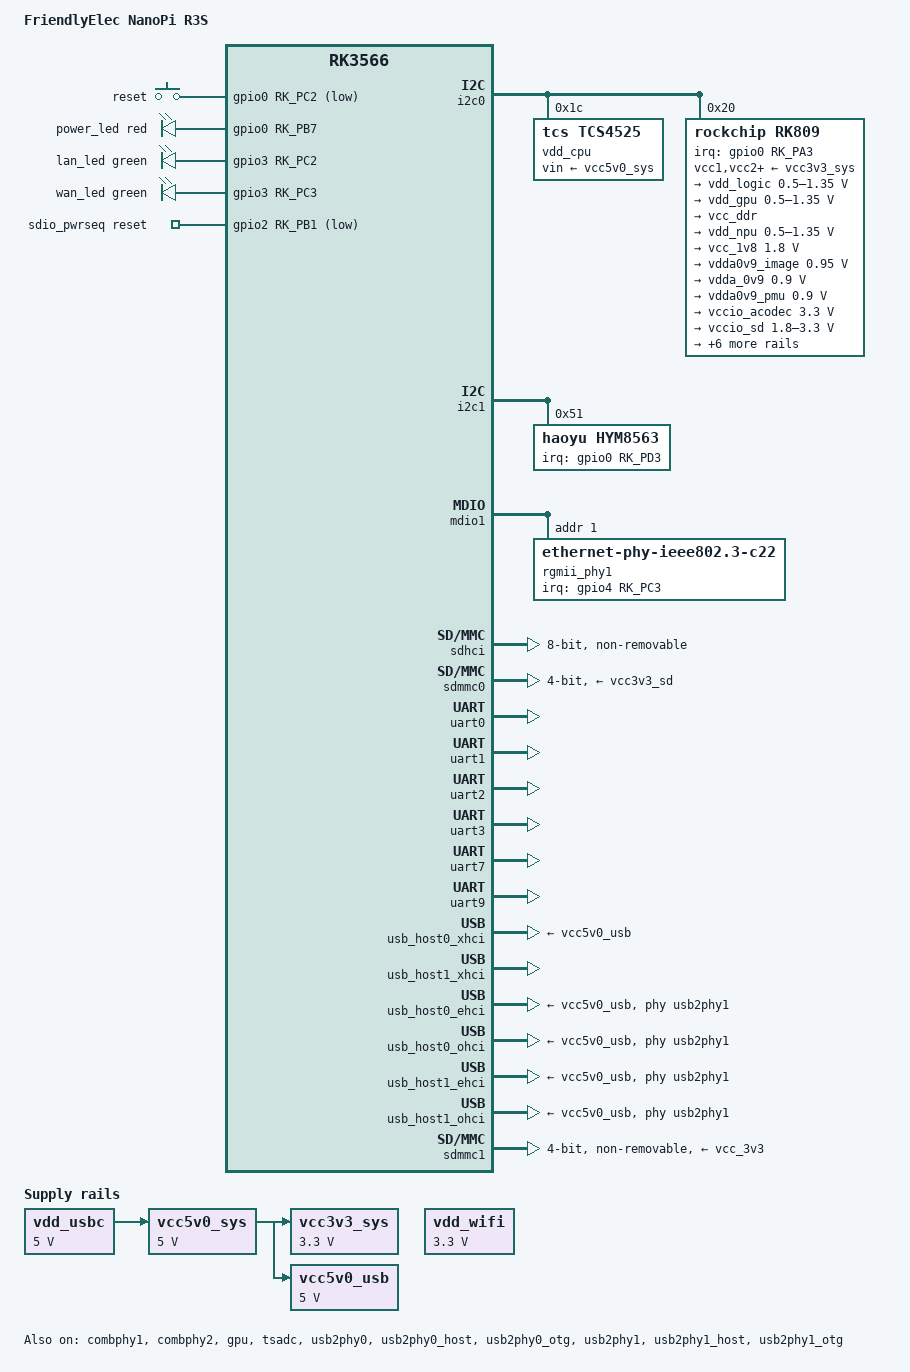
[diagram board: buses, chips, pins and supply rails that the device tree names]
// SPDX-License-Identifier: GPL-2.0-or-later OR MIT
/*
 * Copyright (c) 2020 Rockchip Electronics Co., Ltd.
 *
 * Copyright (c) 2024 FriendlyElec Computer Tech. Co., Ltd.
 * (http://www.friendlyelec.com)
 *
 * Copyright (c) 2024 Tianling Shen <cnsztl@gmail.com>
 *
 * version: rk3566-nanopi-r3s-custom-v2.dts
 */

/dts-v1/;
#include <dt-bindings/gpio/gpio.h>
#include <dt-bindings/input/input.h>
#include <dt-bindings/leds/common.h>
#include <dt-bindings/pinctrl/rockchip.h>
#include <dt-bindings/soc/rockchip,vop2.h>
#include "rk3566.dtsi"

/ {
	model = "FriendlyElec NanoPi R3S";
	compatible = "friendlyarm,nanopi-r3s", "rockchip,rk3566";

	aliases {
		ethernet0 = &gmac1;
		mmc0 = &sdhci;
		mmc1 = &sdmmc0;
		mmc2 = &sdmmc1;
	};

	chosen: chosen {
		stdout-path = "serial2:1500000n8";
	};

	gpio-keys {
		compatible = "gpio-keys";
		pinctrl-names = "default";
		pinctrl-0 = <&reset_button_pin>;

		button-reset {
			label = "reset";
			gpios = <&gpio0 RK_PC2 GPIO_ACTIVE_LOW>;
			linux,code = <KEY_RESTART>;
			debounce-interval = <50>;
		};
	};

	gpio-leds {
		compatible = "gpio-leds";
		pinctrl-names = "default";
		pinctrl-0 = <&power_led_pin>, <&lan_led_pin>, <&wan_led_pin>;

		power_led: led-0 {
			color = <LED_COLOR_ID_RED>;
			function = LED_FUNCTION_POWER;
			gpios = <&gpio0 RK_PB7 GPIO_ACTIVE_HIGH>;
			linux,default-trigger = "heartbeat";
		};

		lan_led: led-1 {
			color = <LED_COLOR_ID_GREEN>;
			function = LED_FUNCTION_LAN;
			gpios = <&gpio3 RK_PC2 GPIO_ACTIVE_HIGH>;
			linux,default-trigger = "r8169-0-100:00:link";
		};

		wan_led: led-2 {
			color = <LED_COLOR_ID_GREEN>;
			function = LED_FUNCTION_WAN;
			gpios = <&gpio3 RK_PC3 GPIO_ACTIVE_HIGH>;
			linux,default-trigger = "stmmac-0:01:link";
		};
	};

	vcc3v3_sys: regulator-vcc3v3-sys {
		compatible = "regulator-fixed";
		regulator-name = "vcc3v3_sys";
		regulator-always-on;
		regulator-boot-on;
		regulator-min-microvolt = <3300000>;
		regulator-max-microvolt = <3300000>;
		vin-supply = <&vcc5v0_sys>;
	};

	vcc5v0_sys: regulator-vcc5v0-sys {
		compatible = "regulator-fixed";
		regulator-name = "vcc5v0_sys";
		regulator-always-on;
		regulator-boot-on;
		regulator-min-microvolt = <5000000>;
		regulator-max-microvolt = <5000000>;
		vin-supply = <&vdd_usbc>;
	};

	vcc5v0_usb: regulator-vcc5v0_usb {
		compatible = "regulator-fixed";
		regulator-name = "vcc5v0_usb";
		regulator-always-on;
		regulator-boot-on;
		regulator-min-microvolt = <5000000>;
		regulator-max-microvolt = <5000000>;
		vin-supply = <&vcc5v0_sys>;
	};

	vdd_usbc: regulator-vdd-usbc {
		compatible = "regulator-fixed";
		regulator-name = "vdd_usbc";
		regulator-always-on;
		regulator-boot-on;
		regulator-min-microvolt = <5000000>;
		regulator-max-microvolt = <5000000>;
	};

	vdd_wifi: wifi_regulator {
		compatible = "regulator-fixed";
		regulator-name = "vdd_wifi_3v3";
		gpio-enable = <&gpio2 RK_PB1 GPIO_ACTIVE_HIGH>;
		/* 电压和VCCIO_WL一致 3.3V */
		regulator-min-microvolt = <3300000>;
		regulator-max-microvolt = <3300000>;
		/* 上电延时，满足RTL8723上电时序 */
		startup-delay-us = <100000>;
	};
	
	/* -------------------------- RTL8723 WiFi电源时序 -------------------------- */
	sdio_pwrseq: sdio-pwrseq {
		compatible = "mmc-pwrseq-simple";
		clocks = <&rk809 1>;
		clock-names = "ext_clock";
		pinctrl-names = "default";
		pinctrl-0 = <&wifi_enable_h>;
		post-power-on-delay-ms = <300>;
		power-off-delay-us = <3000000>;
		reset-gpios = <&gpio2 RK_PB1 GPIO_ACTIVE_LOW>;
	};
};

&combphy1 {
	status = "okay";
};

&combphy2 {
	status = "okay";
};

&cpu0 {
	cpu-supply = <&vdd_cpu>;
};

&cpu1 {
	cpu-supply = <&vdd_cpu>;
};

&cpu2 {
	cpu-supply = <&vdd_cpu>;
};

&cpu3 {
	cpu-supply = <&vdd_cpu>;
};

&gmac1 {
	phy-mode = "rgmii";
	clock_in_out = "output";

	snps,reset-gpio = <&gpio4 RK_PC2 GPIO_ACTIVE_LOW>;
	snps,reset-active-low;
	/* Reset time is 15ms, 50ms for rtl8211f */
	snps,reset-delays-us = <0 15000 50000>;
	assigned-clocks = <&cru SCLK_GMAC1_RX_TX>, <&cru SCLK_GMAC1>;
	assigned-clock-parents = <&cru SCLK_GMAC1_RGMII_SPEED>, <&cru CLK_MAC1_2TOP>;
	assigned-clock-rates = <0>, <125000000>;

	pinctrl-names = "default";
	pinctrl-0 = <&gmac1m0_miim
		     &gmac1m0_tx_bus2_level3
		     &gmac1m0_rx_bus2
		     &gmac1m0_rgmii_clk_level2
		     &gmac1m0_rgmii_bus_level3>;
	tx_delay = <0x3c>;
	rx_delay = <0x2f>;

	phy-handle = <&rgmii_phy1>;
	status = "disabled";
};

&gpu {
	mali-supply = <&vdd_gpu>;
	status = "okay";
};

&i2c0 {
	status = "okay";

	vdd_cpu: regulator@1c {
		compatible = "tcs,tcs4525";
		reg = <0x1c>;
		fcs,suspend-voltage-selector = <1>;
		regulator-name = "vdd_cpu";
		regulator-always-on;
		regulator-boot-on;
		regulator-min-microvolt = <800000>;
		regulator-max-microvolt = <1150000>;
		regulator-ramp-delay = <2300>;
		vin-supply = <&vcc5v0_sys>;

		regulator-state-mem {
			regulator-off-in-suspend;
		};
	};

	rk809: pmic@20 {
		compatible = "rockchip,rk809";
		reg = <0x20>;
		interrupt-parent = <&gpio0>;
		interrupts = <RK_PA3 IRQ_TYPE_LEVEL_LOW>;
		#clock-cells = <1>;
		pinctrl-names = "default";
		pinctrl-0 = <&pmic_int>;
		system-power-controller;
		vcc1-supply = <&vcc3v3_sys>;
		vcc2-supply = <&vcc3v3_sys>;
		vcc3-supply = <&vcc3v3_sys>;
		vcc4-supply = <&vcc3v3_sys>;
		vcc5-supply = <&vcc3v3_sys>;
		vcc6-supply = <&vcc3v3_sys>;
		vcc7-supply = <&vcc3v3_sys>;
		vcc8-supply = <&vcc3v3_sys>;
		vcc9-supply = <&vcc3v3_sys>;
		wakeup-source;

		regulators {
			vdd_logic: DCDC_REG1 {
				regulator-name = "vdd_logic";
				regulator-always-on;
				regulator-boot-on;
				regulator-initial-mode = <0x2>;
				regulator-min-microvolt = <500000>;
				regulator-max-microvolt = <1350000>;
				regulator-ramp-delay = <6001>;

				regulator-state-mem {
					regulator-off-in-suspend;
				};
			};

			vdd_gpu: DCDC_REG2 {
				regulator-name = "vdd_gpu";
				regulator-always-on;
				regulator-initial-mode = <0x2>;
				regulator-min-microvolt = <500000>;
				regulator-max-microvolt = <1350000>;
				regulator-ramp-delay = <6001>;

				regulator-state-mem {
					regulator-off-in-suspend;
				};
			};

			vcc_ddr: DCDC_REG3 {
				regulator-name = "vcc_ddr";
				regulator-always-on;
				regulator-boot-on;
				regulator-initial-mode = <0x2>;

				regulator-state-mem {
					regulator-on-in-suspend;
				};
			};

			vdd_npu: DCDC_REG4 {
				regulator-name = "vdd_npu";
				regulator-initial-mode = <0x2>;
				regulator-min-microvolt = <500000>;
				regulator-max-microvolt = <1350000>;
				regulator-ramp-delay = <6001>;

				regulator-state-mem {
					regulator-off-in-suspend;
				};
			};

			vcc_1v8: DCDC_REG5 {
				regulator-name = "vcc_1v8";
				regulator-always-on;
				regulator-boot-on;
				regulator-min-microvolt = <1800000>;
				regulator-max-microvolt = <1800000>;

				regulator-state-mem {
					regulator-off-in-suspend;
				};
			};

			vdda0v9_image: LDO_REG1 {
				regulator-name = "vdda0v9_image";
				regulator-min-microvolt = <950000>;
				regulator-max-microvolt = <950000>;

				regulator-state-mem {
					regulator-off-in-suspend;
				};
			};

			vdda_0v9: LDO_REG2 {
				regulator-name = "vdda_0v9";
				regulator-always-on;
				regulator-boot-on;
				regulator-min-microvolt = <900000>;
				regulator-max-microvolt = <900000>;

				regulator-state-mem {
					regulator-off-in-suspend;
				};
			};

			vdda0v9_pmu: LDO_REG3 {
				regulator-name = "vdda0v9_pmu";
				regulator-always-on;
				regulator-boot-on;
				regulator-min-microvolt = <900000>;
				regulator-max-microvolt = <900000>;

				regulator-state-mem {
					regulator-on-in-suspend;
					regulator-suspend-microvolt = <900000>;
				};
			};

			vccio_acodec: LDO_REG4 {
				regulator-name = "vccio_acodec";
				regulator-min-microvolt = <3300000>;
				regulator-max-microvolt = <3300000>;
				regulator-always-on;
				regulator-boot-on;
				regulator-state-mem {
					regulator-off-in-suspend;
				};
			};

			vccio_sd: LDO_REG5 {
				regulator-name = "vccio_sd";
				regulator-min-microvolt = <1800000>;
				regulator-max-microvolt = <3300000>;

				regulator-state-mem {
					regulator-off-in-suspend;
				};
			};

			vcc3v3_pmu: LDO_REG6 {
				regulator-name = "vcc3v3_pmu";
				regulator-always-on;
				regulator-boot-on;
				regulator-min-microvolt = <3300000>;
				regulator-max-microvolt = <3300000>;

				regulator-state-mem {
					regulator-on-in-suspend;
					regulator-suspend-microvolt = <3300000>;
				};
			};

			vcca_1v8: LDO_REG7 {
				regulator-name = "vcca_1v8";
				regulator-always-on;
				regulator-boot-on;
				regulator-min-microvolt = <1800000>;
				regulator-max-microvolt = <1800000>;

				regulator-state-mem {
					regulator-off-in-suspend;
				};
			};

			vcca1v8_pmu: LDO_REG8 {
				regulator-name = "vcca1v8_pmu";
				regulator-always-on;
				regulator-boot-on;
				regulator-min-microvolt = <1800000>;
				regulator-max-microvolt = <1800000>;

				regulator-state-mem {
					regulator-on-in-suspend;
					regulator-suspend-microvolt = <1800000>;
				};
			};

			vcca1v8_image: LDO_REG9 {
				regulator-name = "vcca1v8_image";
				regulator-min-microvolt = <1800000>;
				regulator-max-microvolt = <1800000>;

				regulator-state-mem {
					regulator-off-in-suspend;
				};
			};

			vcc_3v3: SWITCH_REG1 {
				regulator-name = "vcc_3v3";
				regulator-always-on;
				regulator-boot-on;

				regulator-state-mem {
					regulator-off-in-suspend;
				};
			};
			
			vcc3v3_sd: SWITCH_REG2 {
				regulator-name = "vcc3v3_sd";
				regulator-always-on;
				regulator-boot-on;

				regulator-state-mem {
					regulator-off-in-suspend;
				};
			};
		};
	};
};

&i2c1 {
	status = "okay";

	hym8563: rtc@51 {
		compatible = "haoyu,hym8563";
		reg = <0x51>;
		#clock-cells = <0>;
		clock-output-names = "hym8563";
		pinctrl-names = "default";
		pinctrl-0 = <&hym8563_int>;
		interrupt-parent = <&gpio0>;
		interrupts = <RK_PD3 IRQ_TYPE_LEVEL_LOW>;
		wakeup-source;
	};
};

&mdio1 {
	rgmii_phy1: ethernet-phy@1 {
		compatible = "ethernet-phy-ieee802.3-c22";
		reg = <1>;
		interrupt-parent = <&gpio4>;
		interrupts = <RK_PC3 IRQ_TYPE_LEVEL_LOW>;
		pinctrl-names = "default";
		pinctrl-0 = <&gmac_int>;
		realtek,led-data = <0xae00>;
	};
};

&pcie2x1 {
	pinctrl-names = "default";
	pinctrl-0 = <&pcie_reset_h>;
	reset-gpios = <&gpio4 RK_PC6 GPIO_ACTIVE_HIGH>;
	status = "disabled";

	pcie@0,0 {
		reg = <0x00000000 0 0 0 0>;
		#address-cells = <3>;
		#size-cells = <2>;

		r8169: pcie@1,0 {
			reg = <0x000000 0 0 0 0>;
			local-mac-address = [ 00 00 00 00 00 00 ];
			realtek,led-data = <0x870>;
		};
	};
};

&pinctrl {
	gpio-leds {
		lan_led_pin: lan-led-pin {
			rockchip,pins = <3 RK_PC2 RK_FUNC_GPIO &pcfg_pull_none>;
		};

		power_led_pin: power-led-pin {
			rockchip,pins = <0 RK_PB7 RK_FUNC_GPIO &pcfg_pull_none>;
		};

		wan_led_pin: wan-led-pin {
			rockchip,pins = <3 RK_PC3 RK_FUNC_GPIO &pcfg_pull_none>;
		};
	};

	gmac {
		gmac_int: gmac-int {
			rockchip,pins = <4 RK_PC3 RK_FUNC_GPIO &pcfg_pull_up>;
		};
	};

	pcie {
		pcie_reset_h: pcie-reset-h {
			rockchip,pins = <4 RK_PC6 RK_FUNC_GPIO &pcfg_pull_down>;
		};
	};

	pmic {
		pmic_int: pmic-int {
			rockchip,pins = <0 RK_PA3 RK_FUNC_GPIO &pcfg_pull_up>;
		};
	};

	rockchip-key {
		reset_button_pin: reset-button-pin {
			rockchip,pins = <0 RK_PC2 RK_FUNC_GPIO &pcfg_pull_up>;
		};
	};

	rtc {
		hym8563_int: hym8563-int {
			rockchip,pins = <0 RK_PD3 RK_FUNC_GPIO &pcfg_pull_up>;
		};
	};
	/* -------------------------- RTL8723 WiFi引脚复用配置 -------------------------- */
	wifi {
		wifi_enable_h: wifi-enable-h {
			rockchip,pins = <2 RK_PB1 RK_FUNC_GPIO &pcfg_pull_none>;
		};

		wifi_wake_host_h: wifi-wake-host-h {
			rockchip,pins = <2 RK_PB2 RK_FUNC_GPIO &pcfg_pull_none>;
		};
	};
};

&pmu_io_domains {
	pmuio1-supply = <&vcc3v3_pmu>;
	pmuio2-supply = <&vcc3v3_pmu>;
	vccio1-supply = <&vccio_acodec>;
	vccio2-supply = <&vcc_1v8>;
	vccio3-supply = <&vccio_sd>;
	vccio4-supply = <&vcc_3v3>;
	vccio5-supply = <&vcc_1v8>;
	vccio6-supply = <&vcc_3v3>;
	vccio7-supply = <&vcc_3v3>;
	status = "okay";
};

&sdhci {
	bus-width = <8>;
	max-frequency = <200000000>;
	mmc-hs200-1_8v;
	non-removable;
	pinctrl-names = "default";
	pinctrl-0 = <&emmc_bus8 &emmc_clk &emmc_cmd &emmc_datastrobe>;
	status = "okay";
};

&sdmmc0 {
	bus-width = <4>;
	cap-mmc-highspeed;
	cap-sd-highspeed;
	disable-wp;
	no-sdio;
	no-mmc;
	pinctrl-names = "default";
	pinctrl-0 = <&sdmmc0_bus4 &sdmmc0_clk &sdmmc0_cmd &sdmmc0_det>;
	sd-uhs-sdr50;
	vmmc-supply = <&vcc3v3_sd>;
	vqmmc-supply = <&vccio_sd>;
	status = "okay";
};

&tsadc {
	status = "okay";
};

&uart0 {
	status = "okay";
};

&uart1 {
	status = "okay";
	pinctrl-names = "default";
	pinctrl-0 = <&uart1m0_xfer &uart1m0_rtsn &uart1m0_ctsn>;
	uart-hw-flowctrl;                 // 开启硬件RTS/CTS流控
};

&uart2 {
	status = "okay";
};

&uart3 {
	status = "okay";
};

&uart7 {
	status = "okay";
	pinctrl-names = "default";
	pinctrl-0 = <&uart7m2_xfer>;
};

&uart9 {
	status = "okay";
	pinctrl-names = "default";
	pinctrl-0 = <&uart9m2_xfer>;
};

&usb2phy0 {
	status = "okay";
};

&usb2phy0_host {
	phy-supply = <&vcc5v0_usb>;
	status = "okay";
};

&usb2phy0_otg {
	phy-supply = <&vcc5v0_usb>;
	status = "okay";
};

&usb2phy1 {
	status = "okay";
};

&usb2phy1_host {
	phy-supply = <&vcc5v0_usb>;
	status = "okay";
};

&usb2phy1_otg {
	phy-supply = <&vcc5v0_usb>;
	status = "okay";
};

&usb_host0_xhci {
	phy-supply = <&vcc5v0_usb>;
	extcon = <&usb2phy0>;
	status = "okay";
};

/*
&usb_host0_xhci {
	phys = <&usb2phy0_otg>;
	phy-names = "usb2-phy";
	extcon = <&usb2phy0>;
	maximum-speed = "high-speed";
};
*/

&usb_host1_xhci {
	status = "okay";
};

// 启用第一个USB2.0 Host控制器
&usb_host0_ehci {
    status = "okay";
    phys = <&usb2phy1>;
    phy-names = "usb";
	xtcon = <&usb2phy1>;
    phy-supply = <&vcc5v0_usb>;
};

&usb_host0_ohci {
    status = "okay";
    phys = <&usb2phy1>;
	xtcon = <&usb2phy1>;
    phy-names = "usb";
	phy-supply = <&vcc5v0_usb>;
};

// 启用第二个USB2.0 Host控制器
&usb_host1_ehci {
    status = "okay";
    phys = <&usb2phy1>;
    phy-names = "usb";
	xtcon = <&usb2phy1>;
    phy-supply = <&vcc5v0_usb>;
};

&usb_host1_ohci {
    status = "okay";
    phys = <&usb2phy1>;
    phy-names = "usb";
	xtcon = <&usb2phy1>;
	phy-supply = <&vcc5v0_usb>;
};

&vop {
	assigned-clocks = <&cru DCLK_VOP0>, <&cru DCLK_VOP1>;
	assigned-clock-parents = <&pmucru PLL_HPLL>, <&cru PLL_VPLL>;
	status = "disabled";
};

&vop_mmu {
	status = "disabled";
};

/* -------------------------- RTL8723 WiFi SDIO总线节点 -------------------------- */
&sdmmc1 {
	bus-width = <4>;
	// cap-sd-highspeed;
	cap-sdio-irq;
	keep-power-in-suspend;
	mmc-pwrseq = <&sdio_pwrseq>;
	no-mmc;
	no-sd;
	non-removable;
	pinctrl-names = "default";
	pinctrl-0 = <&sdmmc1_bus4 &sdmmc1_clk &sdmmc1_cmd>;
	// sd-uhs-sdr104;
	no-sdio-tuning;
	max-frequency = <50000000>; /* 强制50MHz SDIO标准频率 */
	vmmc-supply = <&vcc_3v3>;
	vqmmc-supply = <&vcc_3v3>;
	status = "okay";
};
